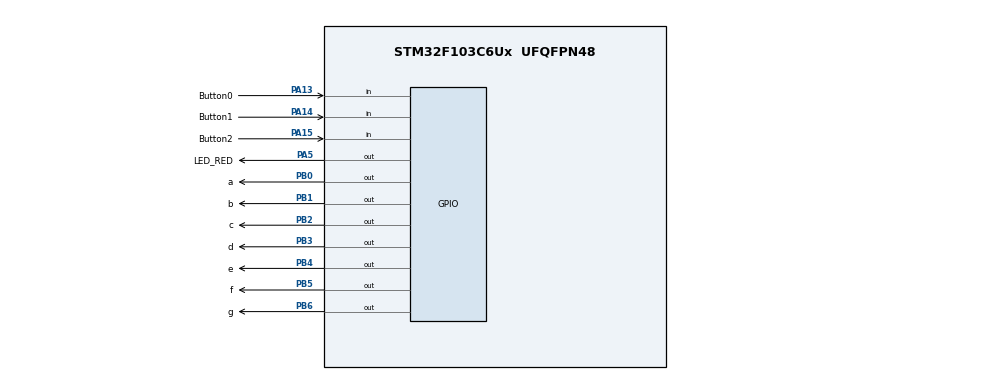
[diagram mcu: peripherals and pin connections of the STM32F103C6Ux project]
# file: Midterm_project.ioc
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Mcu.Family=STM32F1
Mcu.Name=STM32F103C6Ux
Mcu.Package=UFQFPN48
NVIC.PriorityGroup=NVIC_PRIORITYGROUP_4
NVIC.TIM2_IRQn=true\:0\:0\:false\:false\:true\:true\:true
PA13.GPIO_Label=Button0
PA13.GPIO_PuPd=GPIO_PULLUP
PA13.Signal=GPIO_Input
PA14.GPIO_Label=Button1
PA14.GPIO_PuPd=GPIO_PULLUP
PA14.Signal=GPIO_Input
PA15.GPIO_Label=Button2
PA15.GPIO_PuPd=GPIO_PULLUP
PA15.Signal=GPIO_Input
PA5.GPIO_Label=LED_RED
PA5.Signal=GPIO_Output
PB0.GPIO_Label=a
PB0.Signal=GPIO_Output
PB1.GPIO_Label=b
PB1.Signal=GPIO_Output
PB2.GPIO_Label=c
PB2.Signal=GPIO_Output
PB3.GPIO_Label=d
PB3.Signal=GPIO_Output
PB4.GPIO_Label=e
PB4.Signal=GPIO_Output
PB5.GPIO_Label=f
PB5.Signal=GPIO_Output
PB6.GPIO_Label=g
PB6.Signal=GPIO_Output
ProjectManager.HeapSize=0x200
ProjectManager.StackSize=0x400
ProjectManager.TargetToolchain=STM32CubeIDE
RCC.APB1Freq_Value=8000000
RCC.APB2Freq_Value=8000000
TIM2.Period=10
TIM2.Prescaler=7999
VP_SYS_VS_ND.Mode=No_Debug
VP_TIM2_VS_ClockSourceINT.Mode=Internal
board=custom

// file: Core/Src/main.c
/* USER CODE BEGIN Header */
/**
  ******************************************************************************
  * @file           : main.c
  * @brief          : Main program body
  ******************************************************************************
  * @attention
  *
  * <h2><center>&copy; Copyright (c) 2022 STMicroelectronics.
  * All rights reserved.</center></h2>
  *
  * This software component is licensed by ST under BSD 3-Clause license,
  * the "License"; You may not use this file except in compliance with the
  * License. You may obtain a copy of the License at:
  *                        opensource.org/licenses/BSD-3-Clause
  *
  ******************************************************************************
  */
/* USER CODE END Header */
#include "main.h"

/* USER CODE BEGIN Includes */
#include "global.h"
#include "software_timer.h"
#include "button.h"
#include "fsm.h"
#include "led7Segment.h"
/* USER CODE END Includes */

TIM_HandleTypeDef htim2;

void SystemClock_Config(void);
static void MX_TIM2_Init(void);
static void MX_GPIO_Init(void);

int main(void)
{

  /* MCU Configuration--------------------------------------------------------*/

  /* Reset of all peripherals, Initializes the Flash interface and the Systick. */
  HAL_Init();

  /* Configure the system clock */
  SystemClock_Config();

  /* Initialize all configured peripherals */
  MX_TIM2_Init();
  MX_GPIO_Init();
  /* USER CODE BEGIN 2 */
  HAL_TIM_Base_Start_IT(&htim2);
  initButton();
  //set timer 0 for led update
  setTimer0(1);
  //initial led red and toggle timer
  setTimer4(100);
  HAL_GPIO_WritePin(LED_RED_GPIO_Port, LED_RED_Pin, RESET);
  /* USER CODE END 2 */

  /* Infinite loop */
  /* USER CODE BEGIN WHILE */
  while (1)
  {
	  fsm_simple_buttons_run();
	  toggleLedRed();
	  update7Segment();
    /* USER CODE END WHILE */

  }
}

void SystemClock_Config(void)
{
  RCC_OscInitTypeDef RCC_OscInitStruct = {0};
  RCC_ClkInitTypeDef RCC_ClkInitStruct = {0};

  /** Initializes the RCC Oscillators according to the specified parameters
  * in the RCC_OscInitTypeDef structure.
  */
  RCC_OscInitStruct.OscillatorType = RCC_OSCILLATORTYPE_HSI;
  RCC_OscInitStruct.HSIState = RCC_HSI_ON;
  RCC_OscInitStruct.HSICalibrationValue = RCC_HSICALIBRATION_DEFAULT;
  RCC_OscInitStruct.PLL.PLLState = RCC_PLL_NONE;
  if (HAL_RCC_OscConfig(&RCC_OscInitStruct) != HAL_OK)
  {
    Error_Handler();
  }
  /** Initializes the CPU, AHB and APB buses clocks
  */
  RCC_ClkInitStruct.ClockType = RCC_CLOCKTYPE_HCLK|RCC_CLOCKTYPE_SYSCLK
                              |RCC_CLOCKTYPE_PCLK1|RCC_CLOCKTYPE_PCLK2;
  RCC_ClkInitStruct.SYSCLKSource = RCC_SYSCLKSOURCE_HSI;
  RCC_ClkInitStruct.AHBCLKDivider = RCC_SYSCLK_DIV1;
  RCC_ClkInitStruct.APB1CLKDivider = RCC_HCLK_DIV1;
  RCC_ClkInitStruct.APB2CLKDivider = RCC_HCLK_DIV1;

  if (HAL_RCC_ClockConfig(&RCC_ClkInitStruct, FLASH_LATENCY_0) != HAL_OK)
  {
    Error_Handler();
  }
}

static void MX_TIM2_Init(void)
{

  TIM_ClockConfigTypeDef sClockSourceConfig = {0};
  TIM_MasterConfigTypeDef sMasterConfig = {0};

  htim2.Instance = TIM2;
  htim2.Init.Prescaler = 7999;
  htim2.Init.CounterMode = TIM_COUNTERMODE_UP;
  htim2.Init.Period = 10;
  htim2.Init.ClockDivision = TIM_CLOCKDIVISION_DIV1;
  htim2.Init.AutoReloadPreload = TIM_AUTORELOAD_PRELOAD_DISABLE;
  if (HAL_TIM_Base_Init(&htim2) != HAL_OK)
  {
    Error_Handler();
  }
  sClockSourceConfig.ClockSource = TIM_CLOCKSOURCE_INTERNAL;
  if (HAL_TIM_ConfigClockSource(&htim2, &sClockSourceConfig) != HAL_OK)
  {
    Error_Handler();
  }
  sMasterConfig.MasterOutputTrigger = TIM_TRGO_RESET;
  sMasterConfig.MasterSlaveMode = TIM_MASTERSLAVEMODE_DISABLE;
  if (HAL_TIMEx_MasterConfigSynchronization(&htim2, &sMasterConfig) != HAL_OK)
  {
    Error_Handler();
  }

}

static void MX_GPIO_Init(void)
{
  GPIO_InitTypeDef GPIO_InitStruct = {0};

  /* GPIO Ports Clock Enable */
  __HAL_RCC_GPIOA_CLK_ENABLE();
  __HAL_RCC_GPIOB_CLK_ENABLE();

  /*Configure GPIO pin Output Level */
  HAL_GPIO_WritePin(LED_RED_GPIO_Port, LED_RED_Pin, GPIO_PIN_RESET);

  /*Configure GPIO pin Output Level */
  HAL_GPIO_WritePin(GPIOB, a_Pin|b_Pin|c_Pin|d_Pin
                          |e_Pin|f_Pin|g_Pin, GPIO_PIN_RESET);

  /*Configure GPIO pin : LED_RED_Pin */
  GPIO_InitStruct.Pin = LED_RED_Pin;
  GPIO_InitStruct.Mode = GPIO_MODE_OUTPUT_PP;
  GPIO_InitStruct.Pull = GPIO_NOPULL;
  GPIO_InitStruct.Speed = GPIO_SPEED_FREQ_LOW;
  HAL_GPIO_Init(LED_RED_GPIO_Port, &GPIO_InitStruct);

  /*Configure GPIO pins : a_Pin b_Pin c_Pin d_Pin
                           e_Pin f_Pin g_Pin */
  GPIO_InitStruct.Pin = a_Pin|b_Pin|c_Pin|d_Pin
                          |e_Pin|f_Pin|g_Pin;
  GPIO_InitStruct.Mode = GPIO_MODE_OUTPUT_PP;
  GPIO_InitStruct.Pull = GPIO_NOPULL;
  GPIO_InitStruct.Speed = GPIO_SPEED_FREQ_LOW;
  HAL_GPIO_Init(GPIOB, &GPIO_InitStruct);

  /*Configure GPIO pins : Button0_Pin Button1_Pin Button2_Pin */
  GPIO_InitStruct.Pin = Button0_Pin|Button1_Pin|Button2_Pin;
  GPIO_InitStruct.Mode = GPIO_MODE_INPUT;
  GPIO_InitStruct.Pull = GPIO_PULLUP;
  HAL_GPIO_Init(GPIOA, &GPIO_InitStruct);

}

/* USER CODE BEGIN 4 */
void HAL_TIM_PeriodElapsedCallback(TIM_HandleTypeDef * htim){
  timerRun();
  button_reading();
}
/* USER CODE END 4 */

void Error_Handler(void)
{
  __disable_irq();
  while (1)
  {
  }
}

/************************ (C) COPYRIGHT STMicroelectronics *****END OF FILE****/
